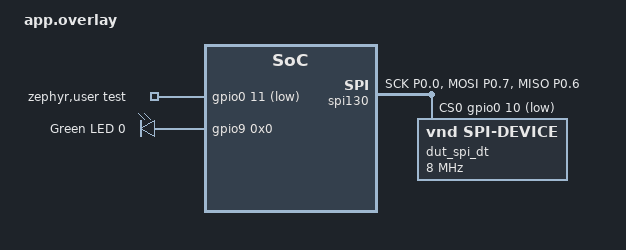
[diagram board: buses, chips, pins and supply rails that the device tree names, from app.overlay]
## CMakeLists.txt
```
#
# Copyright (c) 2024 Nordic Semiconductor ASA
#
# SPDX-License-Identifier: LicenseRef-Nordic-5-Clause
#

cmake_minimum_required(VERSION 3.20.0)

find_package(Zephyr REQUIRED HINTS $ENV{ZEPHYR_BASE})

project(ppr_main)

target_include_directories(app PRIVATE ${CMAKE_CURRENT_SOURCE_DIR}/../common)

target_sources(app PRIVATE src/main.c)

if (CONFIG_APP_PROVIDE_PM_HOOKS)
  target_sources(app PRIVATE ${ZEPHYR_NRF_MODULE_DIR}/tests/benchmarks/multicore/common/power_off.c)
endif()
```

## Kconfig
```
#
# Copyright (c) 2024 Nordic Semiconductor ASA
#
# SPDX-License-Identifier: LicenseRef-Nordic-5-Clause
#

config APP_PROVIDE_PM_HOOKS
	bool "Application provides PM hooks"
	depends on MULTITHREADING
	default y if SOC_NRF54H20_CPUPPR
	select HAS_PM
	select HAS_POWEROFF

config APP_USE_NRFX_DRIVERS
	bool "Use nrfx drivers directly instead of Zephyr SPI driver"
	default n
	select NRFX_SPIM
	select NRFX_GPIOTE130

source "Kconfig.zephyr"
```

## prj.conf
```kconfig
CONFIG_SPI=y
CONFIG_GPIO=y

CONFIG_PM=y
CONFIG_PM_DEVICE=y
CONFIG_PM_DEVICE_RUNTIME=n
CONFIG_POWEROFF=y

CONFIG_BOOT_BANNER=n
CONFIG_NCS_BOOT_BANNER=n
CONFIG_ASSERT=y

CONFIG_MBOX=y
CONFIG_IPC_SERVICE=y
CONFIG_IPC_SERVICE_LOG_LEVEL_INF=y
CONFIG_PBUF_RX_READ_BUF_SIZE=512

CONFIG_SPI_NRFX_RAM_BUFFER_SIZE=64

# Enable for debugging purposes only
CONFIG_PRINTK=n
CONFIG_LOG=n
CONFIG_CONSOLE=n
CONFIG_UART_CONSOLE=n
CONFIG_SERIAL=n
```

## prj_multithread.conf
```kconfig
#
# Copyright (c) 2026 Nordic Semiconductor ASA
#
# SPDX-License-Identifier: LicenseRef-Nordic-5-Clause
#

# Memory optimized for the multi-threaded application.

CONFIG_SPI=y
CONFIG_GPIO=y
CONFIG_GPIO_NRFX_INTERRUPT=n

# Zephyr Power Management is available only when multithreading is enabled.
# It requires the idle thread to enter the low power states.
CONFIG_PM=y
CONFIG_PM_DEVICE=y
CONFIG_PM_DEVICE_RUNTIME=y
CONFIG_POWEROFF=y

CONFIG_BOOT_BANNER=n
CONFIG_NCS_BOOT_BANNER=n
CONFIG_ASSERT=n

CONFIG_MBOX=y
CONFIG_IPC_SERVICE=y
CONFIG_IPC_SERVICE_LOG_LEVEL_INF=y
CONFIG_PBUF_RX_READ_BUF_SIZE=512

CONFIG_SPI_NRFX_RAM_BUFFER_SIZE=64

CONFIG_PRINTK=n
CONFIG_LOG=n
CONFIG_CONSOLE=n
CONFIG_UART_CONSOLE=n
CONFIG_SERIAL=n

CONFIG_LTO=y
CONFIG_ISR_TABLES_LOCAL_DECLARATION=y

CONFIG_TIMESLICING=n
CONFIG_COMMON_LIBC_MALLOC=n
```

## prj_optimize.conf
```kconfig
CONFIG_SPI=y
CONFIG_GPIO=y
CONFIG_GPIO_NRFX_INTERRUPT=n

# Power management does not work without multithreading.
# It needs to be done manually at the application level.
CONFIG_PM=n
CONFIG_POWEROFF=n
CONFIG_APP_PROVIDE_PM_HOOKS=n

CONFIG_BOOT_BANNER=n
CONFIG_NCS_BOOT_BANNER=n
CONFIG_ASSERT=n

CONFIG_MBOX=y
CONFIG_IPC_SERVICE=y
CONFIG_IPC_SERVICE_LOG_LEVEL_INF=y
CONFIG_PBUF_RX_READ_BUF_SIZE=512

CONFIG_SPI_NRFX_RAM_BUFFER_SIZE=64

CONFIG_PRINTK=n
CONFIG_LOG=n
CONFIG_CONSOLE=n
CONFIG_UART_CONSOLE=n
CONFIG_SERIAL=n

CONFIG_APP_MULTITHREADING=n
CONFIG_MULTITHREADING=n

CONFIG_GEN_SW_ISR_TABLE=n

CONFIG_LTO=y
CONFIG_ISR_TABLES_LOCAL_DECLARATION=y

CONFIG_TIMESLICING=n
CONFIG_COMMON_LIBC_MALLOC=n
```

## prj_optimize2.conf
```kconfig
CONFIG_SPI=y
CONFIG_GPIO=y
CONFIG_GPIO_NRFX_INTERRUPT=n

CONFIG_PM=y
CONFIG_PM_DEVICE=y
CONFIG_PM_DEVICE_RUNTIME=y
CONFIG_POWEROFF=y

CONFIG_BOOT_BANNER=n
CONFIG_NCS_BOOT_BANNER=n
CONFIG_ASSERT=n

CONFIG_MBOX=y
CONFIG_IPC_SERVICE=y
CONFIG_IPC_SERVICE_LOG_LEVEL_INF=y
CONFIG_PBUF_RX_READ_BUF_SIZE=512

CONFIG_SPI_NRFX_RAM_BUFFER_SIZE=100

CONFIG_PRINTK=n
CONFIG_LOG=n
CONFIG_CONSOLE=n
CONFIG_UART_CONSOLE=n
CONFIG_SERIAL=n

CONFIG_LTO=y
CONFIG_ISR_TABLES_LOCAL_DECLARATION=y

CONFIG_TIMESLICING=n
CONFIG_COMMON_LIBC_MALLOC=n
```

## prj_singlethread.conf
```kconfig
#
# Copyright (c) 2026 Nordic Semiconductor ASA
#
# SPDX-License-Identifier: LicenseRef-Nordic-5-Clause
#

# Memory optimized for the single-threaded application.

CONFIG_SPI=y
CONFIG_GPIO=y
CONFIG_GPIO_NRFX_INTERRUPT=n

# CONFIG_APP_USE_NRFX_DRIVERS=y

# Power management does not work without multithreading.
# It needs to be done manually at the application level.
CONFIG_PM=n
CONFIG_POWEROFF=n
CONFIG_APP_PROVIDE_PM_HOOKS=n

CONFIG_BOOT_BANNER=n
CONFIG_NCS_BOOT_BANNER=n
CONFIG_ASSERT=n

CONFIG_MBOX=y
CONFIG_IPC_SERVICE=y
CONFIG_IPC_SERVICE_LOG_LEVEL_INF=y
CONFIG_PBUF_RX_READ_BUF_SIZE=512

CONFIG_SPI_NRFX_RAM_BUFFER_SIZE=64

CONFIG_PRINTK=n
CONFIG_LOG=n
CONFIG_CONSOLE=n
CONFIG_UART_CONSOLE=n
CONFIG_SERIAL=n

CONFIG_MULTITHREADING=n

CONFIG_GEN_SW_ISR_TABLE=n

CONFIG_LTO=y
CONFIG_ISR_TABLES_LOCAL_DECLARATION=y

CONFIG_TIMESLICING=n
CONFIG_COMMON_LIBC_MALLOC=n
```

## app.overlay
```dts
/*
 * Copyright (c) 2025 Nordic Semiconductor ASA
 *
 * SPDX-License-Identifier: LicenseRef-Nordic-5-Clause
 */

/* Test requires two wire connections:
 *  - SPIM_MOSI with SPIM_MISO -> P0.07 - P0.06;
 *  - SPI cs-gpios with test-gpios -> P0.10 - P0.11.
 * Test-gpios and cs-gpios must have identical active level flag.
 */

/ {
	zephyr,user {
		test-gpios = <&gpio0 11 GPIO_ACTIVE_LOW>;
	};

	aliases {
		led = &led0;
	};

	leds {
		compatible = "gpio-leds";

		led0: led_0 {
			gpios = <&gpio9 0x0 0x0>;
			label = "Green LED 0";
		};
	};

	cpus {
		power-states {
			wait: wait {
				compatible = "zephyr,power-state";
				power-state-name = "standby";
				substate-id = <0>;
				min-residency-us = <10>;
			};

			hibernate: hibernate {
				compatible = "zephyr,power-state";
				power-state-name = "suspend-to-ram";
				substate-id = <0>;
				min-residency-us = <200>;
			};
		};
	};
};

&cpu {
	cpu-power-states = <&wait &hibernate>;
};

&gpio0 {
	status = "okay";
};

&gpio9 {
	status = "okay";
};

&gpiote130 {
	status = "okay";
	owned-channels = <7>;
};

&pinctrl {
	spi130_default_alt: spi130_default_alt {
		group1 {
			psels = <NRF_PSEL(SPIM_SCK, 0, 0)>,
				<NRF_PSEL(SPIM_MOSI, 0, 7)>,
				<NRF_PSEL(SPIM_MISO, 0, 6)>;
		};
	};

	spi130_sleep_alt: spi130_sleep_alt {
		group1 {
			psels = <NRF_PSEL(SPIM_SCK, 0, 0)>,
				<NRF_PSEL(SPIM_MISO, 0, 6)>,
				<NRF_PSEL(SPIM_MOSI, 0, 7)>;
			low-power-enable;
		};
	};
};

&spi130 {
	compatible = "nordic,nrf-spim";
	status = "okay";
	pinctrl-0 = <&spi130_default_alt>;
	pinctrl-1 = <&spi130_sleep_alt>;
	pinctrl-names = "default", "sleep";
	overrun-character = <0x00>;
	cs-gpios = <&gpio0 10 GPIO_ACTIVE_LOW>;

	dut_spi_dt: test-spi-dev@0 {
		compatible = "vnd,spi-device";
		reg = <0>;
		spi-max-frequency = <DT_FREQ_M(8)>;
	};
};

ipc1: &cpuapp_cpuppr_ipc {
	status = "okay";
};

&cpuppr_vevif {
	status = "okay";
};

&cpuapp_bellboard {
	status = "okay";
};

&uart135 {
	/delete-property/ hw-flow-control;
	status = "disabled";
};
```

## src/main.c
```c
/*
 * Copyright (c) 2026 Nordic Semiconductor ASA
 *
 * SPDX-License-Identifier: LicenseRef-Nordic-5-Clause
 */

#include <zephyr/kernel.h>
#include <zephyr/device.h>
#include <string.h>
#include <zephyr/ipc/ipc_service.h>
#include <zephyr/drivers/spi.h>

#include <zephyr/pm/pm.h>

#include <hal/nrf_vpr_csr.h>
#include <hal/nrf_gpio.h>
#include <nrfx_spim.h>
#include <dmm.h>

#include "sensor_data.h"

#include <zephyr/logging/log.h>
LOG_MODULE_REGISTER(ppr_main, LOG_LEVEL_DBG);

#define READ_INTERVAL_MS 100

/** SPI settings */
#if defined(CONFIG_SPI)
#define SPI_MODE (SPI_WORD_SET(8) | SPI_LINES_SINGLE | SPI_TRANSFER_LSB)
#define SPIM_OP	 (SPI_OP_MODE_MASTER | SPI_MODE)
struct spi_dt_spec spim = SPI_DT_SPEC_GET(DT_NODELABEL(dut_spi_dt), SPIM_OP);
#endif

#if defined(CONFIG_APP_USE_NRFX_DRIVERS)
// #define SPI_NODE DT_NODELABEL(spi130)
// #define SPI_PINCTRL_NODE DT_CHILD(DT_PINCTRL_0(SPI_NODE, 0), group1)
// #define SCK_PIN (DT_PROP_BY_IDX(SPI_PINCTRL_NODE, psels, 0) & 0x3F)
// #define MISO_PIN (DT_PROP_BY_IDX(SPI_PINCTRL_NODE, psels, 1) & 0x3F)
// #define MOSI_PIN (DT_PROP_BY_IDX(SPI_PINCTRL_NODE, psels, 2) & 0x3F)

static nrfx_spim_t spim_nrfx = NRFX_SPIM_INSTANCE(NRF_SPIM_INST_GET(130));
static nrfx_spim_config_t spim_nrfx_config = {
	.frequency = NRFX_MHZ_TO_HZ(8),
	.miso_pin = NRF_PIN_PORT_TO_PIN_NUMBER(0, 6),
	.mosi_pin = NRF_PIN_PORT_TO_PIN_NUMBER(0, 7),
	.sck_pin = NRF_PIN_PORT_TO_PIN_NUMBER(0, 0),
	// .ss_pin = NRF_PIN_PORT_TO_PIN_NUMBER(0, 10), // <-- some issues with this
	.ss_pin = NRF_SPIM_PIN_NOT_CONNECTED,
	.ss_active_high = false,
	.irq_priority = NRFX_SPIM_DEFAULT_CONFIG_IRQ_PRIORITY,
	.orc = 0x00,
	.mode = NRF_SPIM_MODE_0,
	.bit_order = NRF_SPIM_BIT_ORDER_LSB_FIRST,
	.miso_pull = NRF_GPIO_PIN_NOPULL,
	.rx_delay = 1,
	.skip_gpio_cfg = false,
	.skip_psel_cfg = false,
};

// static nrfx_spim_config_t spim_nrfx_config =
// 	NRFX_SPIM_DEFAULT_CONFIG(NRF_PIN_PORT_TO_PIN_NUMBER(0, 0),
// 				 NRF_PIN_PORT_TO_PIN_NUMBER(0, 7),
// 				 NRF_PIN_PORT_TO_PIN_NUMBER(0, 6),
// 				 NRF_SPIM_PIN_NOT_CONNECTED);
#endif

/* Mock data for SPI loopback transfer. */
static struct sensor_data tx_data;

/* Buffer for received data.
 * Will be set to the specific place in ipc_data[] array.
 */
static struct sensor_data_batch batch_data;

#if defined(CONFIG_SPI)
/* SPI transmit buffer for mock data. */
static struct spi_buf tx_buf  = {
	.buf = tx_data.data,
	.len = sizeof(tx_data.data),
};
static struct spi_buf_set tx_buffer_set  = {
	.buffers = &tx_buf,
	.count = 1,
};

/* SPI receive buffer for loopback transfer data. */
static struct spi_buf rx_buf;
static struct spi_buf_set rx_buffer_set  = {
	.buffers = &rx_buf,
	.count = 1,
};
#endif

#if defined(CONFIG_APP_USE_NRFX_DRIVERS)
#define USER_SPIM_XFER_BUF_SIZE 64
#define SPI130_NODELABEL DT_NODELABEL(spi130)
static void *mem_reg = DMM_DEV_TO_REG(SPI130_NODELABEL);
static uint8_t rx_buffer[USER_SPIM_XFER_BUF_SIZE] DMM_MEMORY_SECTION(SPI130_NODELABEL);
static uint8_t tx_buffer[USER_SPIM_XFER_BUF_SIZE] DMM_MEMORY_SECTION(SPI130_NODELABEL);
BUILD_ASSERT(sizeof(struct sensor_data) <= sizeof(tx_buffer));
BUILD_ASSERT(sizeof(struct sensor_data) <= sizeof(rx_buffer));

static nrfx_spim_xfer_desc_t xfer_buffer_set =
	NRFX_SPIM_XFER_TRX(tx_buffer, sizeof(tx_buffer),
			   rx_buffer, sizeof(rx_buffer));
#endif

/* IPC endpoint for communication with app core. */
static const struct device *ipc1_instance = DEVICE_DT_GET(DT_NODELABEL(ipc1));
static struct ipc_ept ep;
#if defined(CONFIG_MULTITHREADING)
static K_SEM_DEFINE(ep_bound_sem, 0, 1);
#else
static volatile bool ep_bound_flag = false;
#endif

static void ep_bound(void *priv)
{
#if defined(CONFIG_MULTITHREADING)
	k_sem_give(&ep_bound_sem);
#else
	ep_bound_flag = true;
#endif
}

static void ep_recv(const void *data, size_t len, void *priv)
{
	/* Left empty on purpose. */
}

static struct ipc_ept_cfg ep_cfg = {
	.name = "ep0",
	.cb = {
		.bound    = ep_bound,
		.received = ep_recv,
	},
};

static void ipc_send(void)
{
	int ret;
	while (true) {
		ret = ipc_service_send(&ep, &batch_data, sizeof(batch_data));
		if (ret == -ENOMEM) {
			/* No space in the buffer. Retry. */
			continue;
		} else if (ret < 0) {
			LOG_ERR("send_message failed with ret %d", ret);
		}
		break;
	}
}

#if defined(CONFIG_MULTITHREADING)
static void ipc_send_work_handler(struct k_work *work)
{
	ARG_UNUSED(work);

	ipc_send();
}

static K_WORK_DEFINE(ipc_send_work, ipc_send_work_handler);
#endif

static int ipc_init(void)
{
	int err;

	err = ipc_service_open_instance(ipc1_instance);
	if (err && (err != -EALREADY)) {
		return err;
	}

	err = ipc_service_register_endpoint(ipc1_instance, &ep, &ep_cfg);
	if (err) {
		return err;
	}

#if defined(CONFIG_MULTITHREADING)
	k_sem_take(&ep_bound_sem, K_FOREVER);
#else
	while (!ep_bound_flag) {
		k_msleep(10);
	}
#endif

	return 0;
}

#if !defined(CONFIG_MULTITHREADING) || !defined(CONFIG_PM)
static void hibernate_sleep_state_set(void)
{
	csr_write(VPRCSR_NORDIC_VPRNORDICSLEEPCTRL,
		VPRCSR_NORDIC_VPRNORDICSLEEPCTRL_SLEEPSTATE_HIBERNATE);
	nrf_barrier_w();
}

static void wait_sleep_state_set(void)
{
	csr_write(VPRCSR_NORDIC_VPRNORDICSLEEPCTRL,
		VPRCSR_NORDIC_VPRNORDICSLEEPCTRL_SLEEPSTATE_WAIT);
	nrf_barrier_w();
}

/** ASSUMPTION: Only this function is configuring the VPR sleep state. */
static void sleep(k_timeout_t timeout)
{
	static const k_timeout_t hibernate_min_residency = K_USEC(200);

	/* Setup the sleep state based on the minimum residency time of the power state. */
	if (timeout.ticks >= hibernate_min_residency.ticks) {
		hibernate_sleep_state_set();
	}

	k_sleep(timeout);

	/* Set default sleep state. */
	wait_sleep_state_set();
}
#endif

static char generate_mock_sample(void)
{
	static char val = 'Z';

	val = (val == 'Z') ? 'A' : val + 1;

	return val;
}

static void spi_xfer_thread_handler(void *arg1, void *arg2, void *arg3) {
	ARG_UNUSED(arg1);
	ARG_UNUSED(arg2);
	ARG_UNUSED(arg3);

	int spi_xfer_cnt = 0;
	int err;

	while (1) {
		/* Setup mock data for SPI loopback transfer. */
		tx_data.data[0] = generate_mock_sample();
		tx_data.data[1] = generate_mock_sample();
		tx_data.data[2] = generate_mock_sample();
		tx_data.data[3] = generate_mock_sample();
		tx_data.data[4] = generate_mock_sample();
		tx_data.data[5] = generate_mock_sample();
		tx_data.data[6] = generate_mock_sample();
		tx_data.data[7] = generate_mock_sample();
		tx_data.data[8] = generate_mock_sample();
		tx_data.data[9] = generate_mock_sample();
#if defined(CONFIG_APP_USE_NRFX_DRIVERS)
		memset(tx_buffer, 0, sizeof(tx_buffer));
		memcpy(tx_buffer, tx_data.data, sizeof(tx_data.data));
#endif

		/* Setup buffer for received data. */
#if !defined(CONFIG_APP_USE_NRFX_DRIVERS)
		rx_buf.buf = batch_data.data[spi_xfer_cnt].data;
		rx_buf.len = sizeof(batch_data.data[spi_xfer_cnt].data);
		memset(rx_buf.buf, 0, rx_buf.len);
#else
		memset(rx_buffer, 0, sizeof(rx_buffer));
#endif

#if !defined(CONFIG_APP_USE_NRFX_DRIVERS)
#if defined(CONFIG_MULTITHREADING) && defined(CONFIG_PM)
		/* CONFIG_PM will automatically power up the SPI bus device. */
#else
		/* Initialize SPI bus to power up the bus device. */
		device_init(spim.bus);
#endif
#else
		err = nrfx_spim_init(&spim_nrfx, &spim_nrfx_config, NULL, NULL);
		LOG_INF("nrfx_spim_init error: %d", err);
#endif

		/* Perform SPI loopback transfer. */
#if !defined(CONFIG_APP_USE_NRFX_DRIVERS)
		spi_transceive_dt(&spim, &tx_buffer_set, &rx_buffer_set);
#else
		xfer_buffer_set.p_tx_buffer = NULL;
		xfer_buffer_set.p_rx_buffer = NULL;
		xfer_buffer_set.tx_length = sizeof(tx_buffer);
		xfer_buffer_set.rx_length = sizeof(rx_buffer);

		err = dmm_buffer_out_prepare(mem_reg, tx_buffer, xfer_buffer_set.tx_length, (void **)&xfer_buffer_set.p_tx_buffer);
		LOG_INF("dmm_buffer_out_prepare error: %d", err);
		err = dmm_buffer_in_prepare(mem_reg, rx_buffer, xfer_buffer_set.rx_length, (void **)&xfer_buffer_set.p_rx_buffer);
		LOG_INF("dmm_buffer_in_prepare error: %d", err);

		LOG_HEXDUMP_INF(xfer_buffer_set.p_tx_buffer, xfer_buffer_set.tx_length, "TX buffer");

		err = nrfx_spim_xfer(&spim_nrfx, &xfer_buffer_set, 0);
		LOG_INF("nrfx_spim_xfer error: %d", err);

		LOG_HEXDUMP_INF(xfer_buffer_set.p_rx_buffer, xfer_buffer_set.rx_length, "RX buffer");
		memcpy(batch_data.data[spi_xfer_cnt].data, rx_buffer, sizeof(batch_data.data[spi_xfer_cnt].data));

		dmm_buffer_in_release(mem_reg, rx_buffer, sizeof(rx_buffer), (void **)&xfer_buffer_set.p_rx_buffer);
		dmm_buffer_out_release(mem_reg, (void **)&xfer_buffer_set.p_tx_buffer);
#endif

#if !defined(CONFIG_APP_USE_NRFX_DRIVERS)
#if defined(CONFIG_MULTITHREADING) && defined(CONFIG_PM)
		/* CONFIG_PM will automatically power down the SPI bus device. */
#else
		/* Deinitialize SPI bus to power down the bus device. */
		device_deinit(spim.bus);
#endif
#else
		nrfx_spim_uninit(&spim_nrfx);
#endif

		/* Send IPC data if we have reached the required number of samples. */
		if (spi_xfer_cnt == (SENSOR_DATA_BATCH_CNT - 1)) {
#if defined(CONFIG_MULTITHREADING)
			k_work_submit(&ipc_send_work);
#else
			ipc_send();
#endif
			spi_xfer_cnt = 0;
		} else {
			spi_xfer_cnt++;
		}

#if defined(CONFIG_MULTITHREADING) && defined(CONFIG_PM)
		/* Rely on default sleep implemenatation.
		 * When CONFIG_PM=y, it will automatically enter required VPR sleep mode
		 * in the idle() thread.
		 */
		k_sleep(K_MSEC(READ_INTERVAL_MS));
#else
		/* Use custom sleep implementation.
		 * As CONFIG_PM is not supported when CONFIG_MULTITHREADING=n,
		 * manually enter the required VPR sleep mode before calling k_sleep(). */
		sleep(K_MSEC(READ_INTERVAL_MS));
#endif
	}
}

#if defined(CONFIG_MULTITHREADING)
K_THREAD_DEFINE(thread_spi_xfer, 1024, spi_xfer_thread_handler, NULL, NULL, NULL,
		K_PRIO_COOP(1), 0, -1);
#endif

int main(void)
{
	int err;

	LOG_INF("PPR core started");

	/* Wait for app core to start. */
	k_busy_wait(1000000);

	err = ipc_init();
	if (err) {
		LOG_ERR("Failed to initialize IPC: %d", err);
		return err;
	}

#if defined(CONFIG_MULTITHREADING)
	k_thread_start(thread_spi_xfer);
#else
	spi_xfer_thread_handler(NULL, NULL, NULL);

	/* Should never reach here. */
	k_panic();
#endif
	return 0;
}
```

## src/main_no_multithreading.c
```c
#include <zephyr/kernel.h>
#include <zephyr/device.h>
#include <string.h>
#include <zephyr/ipc/ipc_service.h>
#include <zephyr/drivers/spi.h>

#include <zephyr/pm/pm.h>

/*
 * *** User input ***
 */
#define SPI_BUFFER_SIZE 35
#define SPI_READ_INTERVAL_MS 100
#define IPC_SEND_INTERVAL 10     // in number of SPI transactions

/** Represents a SPI transaction. */
struct spi_data {
	uint8_t data[SPI_BUFFER_SIZE];
};

/*
 * *** SPI settings ***
 */
#define SPI_MODE (SPI_WORD_SET(8) | SPI_LINES_SINGLE | SPI_TRANSFER_LSB)
#define SPIM_OP	 (SPI_OP_MODE_MASTER | SPI_MODE)
struct spi_dt_spec spim = SPI_DT_SPEC_GET(DT_NODELABEL(dut_spi_dt), SPIM_OP, 0);

/* Mock data for SPI loopback transfer. */
static struct spi_data tx_data;
static struct spi_buf tx_buf  = {
	.buf = tx_data.data,
	.len = sizeof(tx_data.data),
};
static struct spi_buf_set tx_buffer_set  = {
	.buffers = &tx_buf,
	.count = 1,
};

/* Buffer for received data.
 * Will be set to the specific place in ipc_data[] array.
 */
static struct spi_data batch_data[IPC_SEND_INTERVAL];
static struct spi_buf rx_buf;
static struct spi_buf_set rx_buffer_set  = {
	.buffers = &rx_buf,
	.count = 1,
};

/*
 * *** IPC settings ***
 *
 * IPC sends ipc_buffer[] dummy data. This is to show the current consumpton
 * associated with different payloads.
 * SPI buffers can be expanded to contain all transactions,
 * and can be send directly over IPC instead of the ipc_buffer.
 */
const struct device *ipc1_instance;
struct ipc_ept ep;
static bool ep_bound_flag = false;

static void ep_bound(void *priv) {
	ep_bound_flag = true;
}
static void ep_recv(const void *data, size_t len, void *priv) { }

static struct ipc_ept_cfg ep_cfg = {
	.name = "ep0",
	.cb = {
		.bound    = ep_bound,
		.received = ep_recv,
	},
};

static void ipc_send(void)
{
	int ret;
	while (true) {
		ret = ipc_service_send(&ep, batch_data, sizeof(batch_data));
		if (ret == -ENOMEM) {
			/* No space in the buffer. Retry. */
			continue;
		} else if (ret < 0) {
			printk("send_message failed with ret %d\n", ret);
		}
		break;
	}
}

#include <hal/nrf_vpr_csr.h>

static void hibernate_sleep_state_set(void)
{
	csr_write(VPRCSR_NORDIC_VPRNORDICSLEEPCTRL,
		VPRCSR_NORDIC_VPRNORDICSLEEPCTRL_SLEEPSTATE_HIBERNATE);
	nrf_barrier_w();
}

static void wait_sleep_state_set(void)
{
	csr_write(VPRCSR_NORDIC_VPRNORDICSLEEPCTRL,
		VPRCSR_NORDIC_VPRNORDICSLEEPCTRL_SLEEPSTATE_WAIT);
	nrf_barrier_w();
}

/** ASSUMPTION: Only this function is configuring the VPR sleep state. */
static void sleep(k_timeout_t timeout)
{
	static const k_timeout_t hibernate_min_residency = K_USEC(200);

	/* Setup the sleep state based on the minimum residency time of the power state. */
	if (timeout.ticks >= hibernate_min_residency.ticks) {
		hibernate_sleep_state_set();
	}

	k_sleep(timeout);

	/* Set default sleep state. */
	wait_sleep_state_set();
}

static char next_alpha_char(void)
{
	static char val = 'Z';

	val = (val == 'Z') ? 'A' : val + 1;

	return val;
}

int main(void)
{
	// Wait for app core to start
	k_busy_wait(1000000);

	// Initialize IPC
	int ret;
	ipc1_instance = DEVICE_DT_GET(DT_NODELABEL(ipc1));

	ret = ipc_service_open_instance(ipc1_instance);
	if ((ret < 0) && (ret != -EALREADY)) {
		return 0;
	}

	ret = ipc_service_register_endpoint(ipc1_instance, &ep, &ep_cfg);
	if (ret < 0) {
		return 0;
	}

	while (!ep_bound_flag) {
		k_msleep(10);
	}


	int spi_xfer_cnt = 0;

	/* SPI read and IPC send loop (single-threaded). */
	while (1) {
		/* Setup mock data for SPI loopback transfer. */
		tx_data.data[0] = next_alpha_char();

		/* Setup buffer for received data. */
		rx_buf.buf = batch_data[spi_xfer_cnt].data;
		rx_buf.len = sizeof(batch_data[spi_xfer_cnt].data);
		memset(rx_buf.buf, 0, rx_buf.len);

		/* Initialize SPI bus to power up the bus device. */
		device_init(spim.bus);

		/* Perform SPI loopback transfer. */
		spi_transceive_dt(&spim, &tx_buffer_set, &rx_buffer_set);

		/* Deinitialize SPI bus to power down the bus device. */
		device_deinit(spim.bus);

		/* Send IPC data if we have reached the required number of samples. */
		if (spi_xfer_cnt == (IPC_SEND_INTERVAL - 1)) {
			ipc_send();
			spi_xfer_cnt = 0;
		} else {
			spi_xfer_cnt++;
		}

		sleep(K_MSEC(SPI_READ_INTERVAL_MS));
	}

	return 0;
}
```
